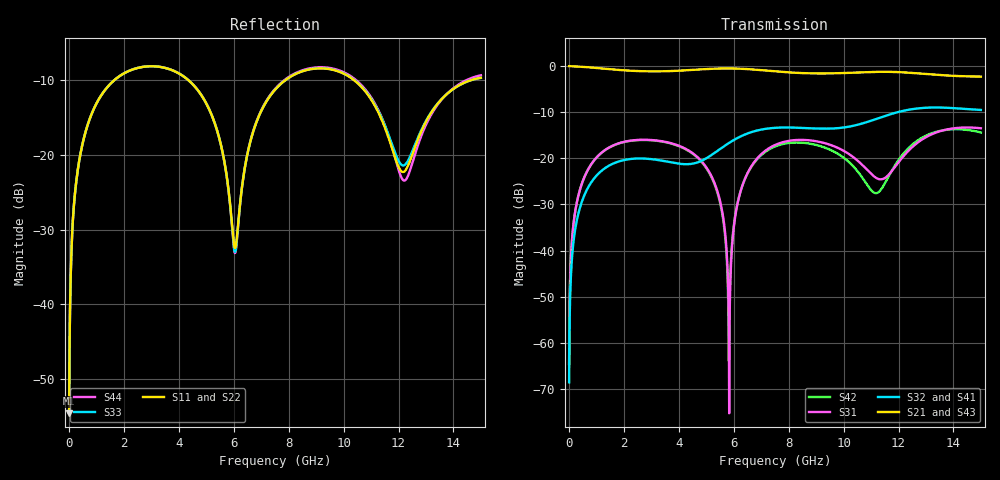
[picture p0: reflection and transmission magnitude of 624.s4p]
! Created with skrf 1.8.0 (http://scikit-rf.org).
# GHz S RI R 50.0
!freq ReS11 ImS11 ReS12 ImS12 ReS13 ImS13
! ReS14 ImS14
! ReS21 ImS21 ReS22 ImS22 ReS23 ImS23
! ReS24 ImS24
! ReS31 ImS31 ReS32 ImS32 ReS33 ImS33
! ReS34 ImS34
! ReS41 ImS41 ReS42 ImS42 ReS43 ImS43
! ReS44 ImS44
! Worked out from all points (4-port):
!   2499 points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, 5 MHz to 15 GHz, reference 50 ohm
!   strongest paths, dB at 5 MHz, 3.476 GHz, 7.19 GHz, 11.1 GHz, 15 GHz:
!     S21: 0.0, -1.1, -1.0, -1.3, -2.3
!     S43: 0.0, -1.1, -1.0, -1.3, -2.3
!     S32: -68.5, -20.6, -13.6, -11.6, -9.5
!     S41: -68.5, -20.6, -13.6, -11.6, -9.5
!     S31: -64.6, -16.4, -18.2, -23.9, -13.5
!     S42: -64.6, -16.5, -18.4, -27.4, -14.4
!   lowest |S11| = -54.6 dB at 5 MHz (marker M1), VSWR 1.00, Z = 50.1 + j0.113 ohm
!   |S11| at or under -10 dB: start of sweep to 1.647 GHz; 4.352 GHz to 7.877 GHz (3.524 GHz wide, 57.6 % of centre); 10.39 GHz to 14.62 GHz (4.237 GHz wide, 33.9 % of centre)
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0.005  0.00148 0.00113  0.9985 -0.00289  7.39e-05 0.000585  -7.18e-05 -0.000367
       0.9985 -0.00289  0.00148 0.00113  -7.18e-05 -0.000367  7.39e-05 0.000585
       7.39e-05 0.000585  -7.18e-05 -0.000367  0.00148 0.00113  0.9985 -0.00289
       -7.18e-05 -0.000367  7.39e-05 0.000585  0.9985 -0.00289  0.00148 0.00113
0.3126303  0.0203 0.0748  0.9724 -0.1803  0.00916 0.0351  -0.0076 -0.0219
           0.9724 -0.1803  0.0203 0.0748  -0.0076 -0.0219  0.00906 0.0351
           0.00916 0.0351  -0.0076 -0.0219  0.0203 0.0748  0.9724 -0.1803
           -0.0076 -0.0219  0.00906 0.0351  0.9724 -0.1803  0.0203 0.0748
1.569404  0.243 0.1876  0.6058 -0.6947  0.1183 0.0676  -0.0854 -0.0152
          0.6058 -0.6947  0.2434 0.1873  -0.0854 -0.0152  0.1169 0.0692
          0.1183 0.0676  -0.0854 -0.0152  0.243 0.1876  0.6058 -0.6947
          -0.0854 -0.0152  0.1169 0.0692  0.6058 -0.6947  0.2435 0.1873
4.89579  0.1588 -0.1787  -0.7055 -0.5986  0.04 -0.0784  -0.0417 0.0867
         -0.7055 -0.5986  0.1569 -0.1809  -0.0412 0.087  0.0437 -0.0747
         0.04 -0.0784  -0.0412 0.087  0.1583 -0.1789  -0.7056 -0.5986
         -0.0417 0.0867  0.0437 -0.0747  -0.7056 -0.5986  0.1573 -0.1805
5.833681  0.0288 -0.0454  -0.9269 -0.1797  -0.000172 8.23e-06  -0.0238 0.1453
          -0.9269 -0.1797  0.0258 -0.0462  -0.0231 0.1455  0.00066 0.000989
          -0.000172 8.23e-06  -0.0231 0.1455  0.0276 -0.0453  -0.9269 -0.1794
          -0.0238 0.1453  0.00066 0.000989  -0.9269 -0.1794  0.0269 -0.0457
7.234264  0.1602 0.1718  -0.7536 0.4764  0.1122 0.0573  0.1383 0.1581
          -0.7536 0.4764  0.1594 0.1745  0.1393 0.1577  0.1048 0.0629
          0.1122 0.0573  0.1393 0.1577  0.1585 0.1736  -0.7532 0.4766
          0.1383 0.1581  0.1048 0.0629  -0.7532 0.4766  0.162 0.1737
15  0.3271 0.0293  0.2425 -0.7306  0.1866 -0.1004  -0.3335 -0.0344
    0.2425 -0.7306  0.3423 0.0275  -0.3334 -0.0305  0.1797 -0.0639
    0.1866 -0.1004  -0.3334 -0.0305  0.3269 0.0231  0.2425 -0.7311
    -0.3335 -0.0344  0.1797 -0.0639  0.2425 -0.7311  0.3399 0.0328
